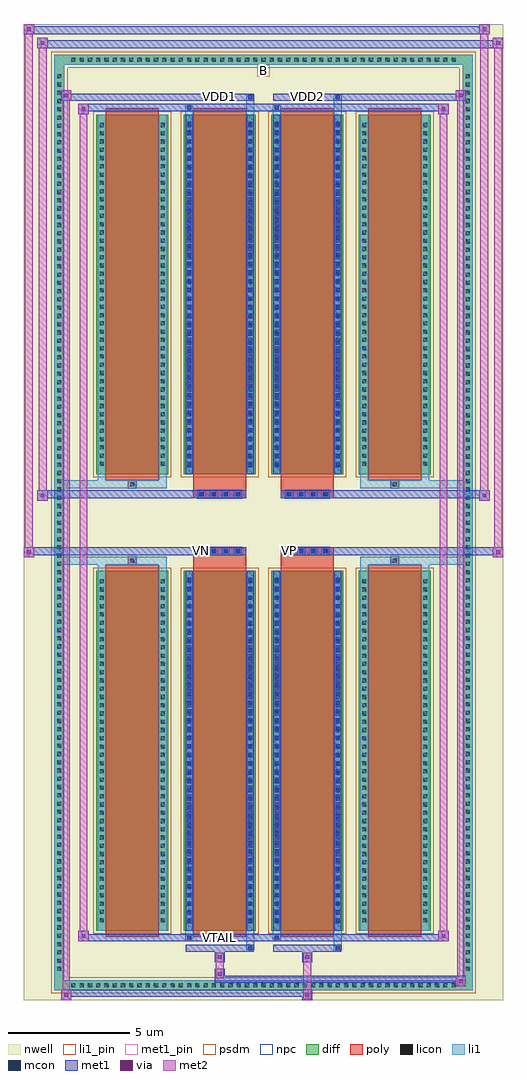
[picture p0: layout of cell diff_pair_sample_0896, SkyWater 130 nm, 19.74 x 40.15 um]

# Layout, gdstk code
import gdstk
lib = gdstk.Library(unit=1e-6, precision=5e-09)
def R(c, l, rs):  # rectangles x0, y0, x1, y1
    for r in rs: c.add(gdstk.rectangle(r[:2], r[2:], *l))
def A(c, l, x, y, w, h, nx, ny, dx, dy):  # array of equal rectangles
    R(c, l, [(x+i*dx, y+j*dy, x+i*dx+w, y+j*dy+h) for i in range(nx) for j in range(ny)])
def P(c, l, *ps):  # polygons
    for p in ps: c.add(gdstk.Polygon(p, *l))
nwell = (64, 20)
diff = (65, 20)
poly = (66, 20)
licon = (66, 44)
li1_pin = (67, 16)
li1 = (67, 20)
mcon = (67, 44)
met1_pin = (68, 16)
met1 = (68, 20)
via = (68, 44)
met2 = (69, 20)
psdm = (94, 20)
npc = (95, 20)

diff_pair_sample_0896 = lib.new_cell('diff_pair_sample_0896')
R(diff_pair_sample_0896, nwell, [(-9.87,-19.64,9.87,20.51), (-7.19,-17.83,-0.01,-0.805), (0.01,-17.83,7.19,-0.805), (-7.19,0.805,-0.01,17.83), (0.01,0.805,7.19,17.83)])
A(diff_pair_sample_0896, diff, -8.025, -19.24, 0.41, 0.41, 47, 2, 0.34, 38.07)
A(diff_pair_sample_0896, diff, -8.6, -18.565, 0.41, 0.41, 1, 109, 0, 0.34)
A(diff_pair_sample_0896, diff, 8.19, -18.565, 0.41, 0.41, 1, 109, 0, 0.34)
A(diff_pair_sample_0896, diff, -6.88, -16.785, 2.96, 14.8, 4, 2, 3.6, 18.77)
R(diff_pair_sample_0896, diff, [(-8.025,-19.24,8.025,-18.83), (-8.6,-18.565,-8.19,18.565), (8.19,-18.565,8.6,18.565), (-8.025,18.83,8.025,19.24)])
P(diff_pair_sample_0896, diff, [(8.6,19.24),(-8.6,19.24),(-8.6,-18.83),(-8.19,-18.83),(-8.19,18.83),(8.19,18.83),(8.19,-18.83),(-8.19,-18.83),(-8.6,-18.83),(-8.6,-19.24),(8.6,-19.24)])
A(diff_pair_sample_0896, poly, -6.49, -17.035, 2.18, 15.3, 4, 2, 3.6, 18.77)
A(diff_pair_sample_0896, poly, -2.715, -1.335, 0.33, 0.33, 4, 2, 0.5, 2.34)
A(diff_pair_sample_0896, poly, 0.885, -1.335, 0.33, 0.33, 4, 2, 0.5, 2.34)
R(diff_pair_sample_0896, poly, [(-5.565,-1.735,-5.235,-1.405), (-5.565,-1.735,-5.235,-1.405), (-2.89,-1.735,-0.71,-1.335), (0.71,-1.735,2.89,-1.335), (5.235,-1.735,5.565,-1.405), (5.235,-1.735,5.565,-1.405), (-2.89,-1.335,-0.71,-1.005), (0.71,-1.335,2.89,-1.005), (-2.89,1.005,-0.71,1.335), (0.71,1.005,2.89,1.335), (-2.89,1.335,-0.71,1.735), (0.71,1.335,2.89,1.735), (-5.565,1.405,-5.235,1.735), (-5.565,1.405,-5.235,1.735), (5.235,1.405,5.565,1.735), (5.235,1.405,5.565,1.735)])
A(diff_pair_sample_0896, licon, -7.905, -19.12, 0.17, 0.17, 47, 2, 0.34, 38.07)
A(diff_pair_sample_0896, licon, -8.48, -18.445, 0.17, 0.17, 1, 109, 0, 0.34)
A(diff_pair_sample_0896, licon, 8.31, -18.445, 0.17, 0.17, 1, 109, 0, 0.34)
A(diff_pair_sample_0896, licon, -6.74, -16.44, 0.17, 0.17, 1, 42, 0, 0.34)
A(diff_pair_sample_0896, licon, -4.23, -16.44, 0.17, 0.17, 1, 42, 0, 0.34)
A(diff_pair_sample_0896, licon, -3.14, -16.44, 0.17, 0.17, 1, 42, 0, 0.34)
A(diff_pair_sample_0896, licon, -0.63, -16.44, 0.17, 0.17, 1, 42, 0, 0.34)
A(diff_pair_sample_0896, licon, 0.46, -16.44, 0.17, 0.17, 1, 42, 0, 0.34)
A(diff_pair_sample_0896, licon, 2.97, -16.44, 0.17, 0.17, 1, 42, 0, 0.34)
A(diff_pair_sample_0896, licon, 4.06, -16.44, 0.17, 0.17, 1, 42, 0, 0.34)
A(diff_pair_sample_0896, licon, 6.57, -16.44, 0.17, 0.17, 1, 42, 0, 0.34)
A(diff_pair_sample_0896, licon, -2.635, -1.255, 0.17, 0.17, 4, 2, 0.5, 2.34)
A(diff_pair_sample_0896, licon, 0.965, -1.255, 0.17, 0.17, 4, 2, 0.5, 2.34)
A(diff_pair_sample_0896, licon, -6.74, 2.33, 0.17, 0.17, 1, 42, 0, 0.34)
A(diff_pair_sample_0896, licon, -4.23, 2.33, 0.17, 0.17, 1, 42, 0, 0.34)
A(diff_pair_sample_0896, licon, -3.14, 2.33, 0.17, 0.17, 1, 42, 0, 0.34)
A(diff_pair_sample_0896, licon, -0.63, 2.33, 0.17, 0.17, 1, 42, 0, 0.34)
A(diff_pair_sample_0896, licon, 0.46, 2.33, 0.17, 0.17, 1, 42, 0, 0.34)
A(diff_pair_sample_0896, licon, 2.97, 2.33, 0.17, 0.17, 1, 42, 0, 0.34)
A(diff_pair_sample_0896, licon, 4.06, 2.33, 0.17, 0.17, 1, 42, 0, 0.34)
A(diff_pair_sample_0896, licon, 6.57, 2.33, 0.17, 0.17, 1, 42, 0, 0.34)
R(diff_pair_sample_0896, licon, [(-5.485,-1.655,-5.315,-1.485), (5.315,-1.655,5.485,-1.485), (-5.485,1.485,-5.315,1.655), (5.315,1.485,5.485,1.655)])
R(diff_pair_sample_0896, li1_pin, [(-0.25,18.33,0.25,18.83)])
A(diff_pair_sample_0896, li1, -7.985, -19.2, 0.33, 0.33, 47, 2, 0.34, 38.07)
A(diff_pair_sample_0896, li1, -8.56, -18.525, 0.33, 0.33, 1, 109, 0, 0.34)
A(diff_pair_sample_0896, li1, 8.23, -18.525, 0.33, 0.33, 1, 109, 0, 0.34)
A(diff_pair_sample_0896, li1, -6.82, -16.52, 0.33, 0.33, 1, 42, 0, 0.34)
A(diff_pair_sample_0896, li1, -4.31, -16.52, 0.33, 0.33, 1, 42, 0, 0.34)
A(diff_pair_sample_0896, li1, -3.22, -16.52, 0.33, 0.33, 1, 42, 0, 0.34)
A(diff_pair_sample_0896, li1, -0.71, -16.52, 0.33, 0.33, 1, 42, 0, 0.34)
A(diff_pair_sample_0896, li1, 0.38, -16.52, 0.33, 0.33, 1, 42, 0, 0.34)
A(diff_pair_sample_0896, li1, 2.89, -16.52, 0.33, 0.33, 1, 42, 0, 0.34)
A(diff_pair_sample_0896, li1, 3.98, -16.52, 0.33, 0.33, 1, 42, 0, 0.34)
A(diff_pair_sample_0896, li1, 6.49, -16.52, 0.33, 0.33, 1, 42, 0, 0.34)
A(diff_pair_sample_0896, li1, -3.14, -16.49, 0.17, 0.17, 1, 40, 0, 0.36)
A(diff_pair_sample_0896, li1, -0.63, -16.49, 0.17, 0.17, 1, 40, 0, 0.36)
A(diff_pair_sample_0896, li1, 0.46, -16.49, 0.17, 0.17, 1, 40, 0, 0.36)
A(diff_pair_sample_0896, li1, 2.97, -16.49, 0.17, 0.17, 1, 40, 0, 0.36)
A(diff_pair_sample_0896, li1, -2.715, -1.335, 0.33, 0.33, 4, 2, 0.5, 2.34)
A(diff_pair_sample_0896, li1, 0.885, -1.335, 0.33, 0.33, 4, 2, 0.5, 2.34)
A(diff_pair_sample_0896, li1, -6.82, 2.25, 0.33, 0.33, 1, 42, 0, 0.34)
A(diff_pair_sample_0896, li1, -4.31, 2.25, 0.33, 0.33, 1, 42, 0, 0.34)
A(diff_pair_sample_0896, li1, -3.22, 2.25, 0.33, 0.33, 1, 42, 0, 0.34)
A(diff_pair_sample_0896, li1, -0.71, 2.25, 0.33, 0.33, 1, 42, 0, 0.34)
A(diff_pair_sample_0896, li1, 0.38, 2.25, 0.33, 0.33, 1, 42, 0, 0.34)
A(diff_pair_sample_0896, li1, 2.89, 2.25, 0.33, 0.33, 1, 42, 0, 0.34)
A(diff_pair_sample_0896, li1, 3.98, 2.25, 0.33, 0.33, 1, 42, 0, 0.34)
A(diff_pair_sample_0896, li1, 6.49, 2.25, 0.33, 0.33, 1, 42, 0, 0.34)
A(diff_pair_sample_0896, li1, -3.14, 2.28, 0.17, 0.17, 1, 40, 0, 0.36)
A(diff_pair_sample_0896, li1, -0.63, 2.28, 0.17, 0.17, 1, 40, 0, 0.36)
A(diff_pair_sample_0896, li1, 0.46, 2.28, 0.17, 0.17, 1, 40, 0, 0.36)
A(diff_pair_sample_0896, li1, 2.97, 2.28, 0.17, 0.17, 1, 40, 0, 0.36)
R(diff_pair_sample_0896, li1, [(-8.6,-19.24,-8.19,-18.83), (-8.6,-19.24,-8.19,-18.83), (-8.19,-19.24,8.19,-18.83), (8.19,-19.24,8.6,-18.83), (8.19,-19.24,8.6,-18.83), (-8.6,-18.83,-8.19,18.83), (8.19,-18.83,8.6,18.83), (-0.71,-17.59,-0.38,-16.785), (-0.63,-17.59,-0.46,-17.42), (2.89,-17.59,3.22,-16.785), (2.97,-17.59,3.14,-17.42), (-3.22,-17.16,-2.89,-16.785), (-3.14,-17.16,-2.97,-16.99), (0.38,-17.16,0.71,-16.785), (0.46,-17.16,0.63,-16.99), (-6.82,-16.785,-6.49,-1.985), (-4.31,-16.785,-3.98,-1.985), (-3.22,-16.785,-2.89,-1.985), (-0.71,-16.785,-0.38,-1.985), (0.38,-16.785,0.71,-1.985), (2.89,-16.785,3.22,-1.985), (3.98,-16.785,4.31,-1.985), (6.49,-16.785,6.82,-1.985), (-3.14,-16.49,-2.97,-2.28), (-0.63,-16.49,-0.46,-2.28), (0.46,-16.49,0.63,-2.28), (2.97,-16.49,3.14,-2.28), (-6.82,-1.985,-6.49,-1.405), (-4.31,-1.985,-3.98,-1.405), (3.98,-1.985,4.31,-1.405), (6.49,-1.985,6.82,-1.405), (-8.6,-1.735,-5.565,-1.405), (-6.82,-1.735,-5.565,-1.405), (-5.565,-1.735,-5.235,-1.405), (-5.235,-1.735,-3.98,-1.405), (3.98,-1.735,5.235,-1.405), (5.235,-1.735,5.565,-1.405), (5.235,-1.735,8.6,-1.405), (5.565,-1.735,6.82,-1.405), (-8.6,1.405,-5.565,1.735), (-6.82,1.405,-5.565,1.735), (-6.82,1.405,-6.49,1.985), (-5.565,1.405,-5.235,1.735), (-5.235,1.405,-3.98,1.735), (-4.31,1.405,-3.98,1.985), (3.98,1.405,5.235,1.735), (3.98,1.405,4.31,1.985), (5.235,1.405,5.565,1.735), (5.235,1.405,8.6,1.735), (5.565,1.405,6.82,1.735), (6.49,1.405,6.82,1.985), (-6.82,1.985,-6.49,16.785), (-4.31,1.985,-3.98,16.785), (-3.22,1.985,-2.89,16.785), (-0.71,1.985,-0.38,16.785), (0.38,1.985,0.71,16.785), (2.89,1.985,3.22,16.785), (3.98,1.985,4.31,16.785), (6.49,1.985,6.82,16.785), (-3.14,2.28,-2.97,16.49), (-0.63,2.28,-0.46,16.49), (0.46,2.28,0.63,16.49), (2.97,2.28,3.14,16.49), (-3.22,16.785,-2.89,17.16), (-0.71,16.785,-0.38,17.59), (0.38,16.785,0.71,17.16), (2.89,16.785,3.22,17.59), (-3.14,16.99,-2.97,17.16), (0.46,16.99,0.63,17.16), (-0.63,17.42,-0.46,17.59), (2.97,17.42,3.14,17.59), (-8.6,18.83,-8.19,19.24), (-8.6,18.83,-8.19,19.24), (-8.19,18.83,8.19,19.24), (8.19,18.83,8.6,19.24), (8.19,18.83,8.6,19.24)])
A(diff_pair_sample_0896, mcon, -3.14, -16.49, 0.17, 0.17, 1, 40, 0, 0.36)
A(diff_pair_sample_0896, mcon, -0.63, -16.49, 0.17, 0.17, 1, 40, 0, 0.36)
A(diff_pair_sample_0896, mcon, 0.46, -16.49, 0.17, 0.17, 1, 40, 0, 0.36)
A(diff_pair_sample_0896, mcon, 2.97, -16.49, 0.17, 0.17, 1, 40, 0, 0.36)
A(diff_pair_sample_0896, mcon, -2.635, -1.255, 0.17, 0.17, 4, 2, 0.5, 2.34)
A(diff_pair_sample_0896, mcon, 0.965, -1.255, 0.17, 0.17, 4, 2, 0.5, 2.34)
A(diff_pair_sample_0896, mcon, -3.14, 2.28, 0.17, 0.17, 1, 40, 0, 0.36)
A(diff_pair_sample_0896, mcon, -0.63, 2.28, 0.17, 0.17, 1, 40, 0, 0.36)
A(diff_pair_sample_0896, mcon, 0.46, 2.28, 0.17, 0.17, 1, 40, 0, 0.36)
A(diff_pair_sample_0896, mcon, 2.97, 2.28, 0.17, 0.17, 1, 40, 0, 0.36)
R(diff_pair_sample_0896, mcon, [(-0.63,-17.59,-0.46,-17.42), (2.97,-17.59,3.14,-17.42), (-3.14,-17.16,-2.97,-16.99), (0.46,-17.16,0.63,-16.99), (-3.14,16.99,-2.97,17.16), (0.46,16.99,0.63,17.16), (-0.63,17.42,-0.46,17.59), (2.97,17.42,3.14,17.59)])
R(diff_pair_sample_0896, met1_pin, [(-1.935,-17.2,-1.665,-16.93), (-2.685,-1.295,-2.415,-1.025), (0.915,-1.295,1.185,-1.025), (-1.935,17.38,-1.665,17.65), (1.665,17.38,1.935,17.65)])
A(diff_pair_sample_0896, met1, -3.2, -16.55, 0.29, 0.29, 1, 40, 0, 0.36)
A(diff_pair_sample_0896, met1, -0.69, -16.55, 0.29, 0.29, 1, 40, 0, 0.36)
A(diff_pair_sample_0896, met1, 0.4, -16.55, 0.29, 0.29, 1, 40, 0, 0.36)
A(diff_pair_sample_0896, met1, 2.91, -16.55, 0.29, 0.29, 1, 40, 0, 0.36)
A(diff_pair_sample_0896, met1, -2.695, -1.315, 0.29, 0.29, 4, 2, 0.5, 2.34)
A(diff_pair_sample_0896, met1, 0.905, -1.315, 0.29, 0.29, 4, 2, 0.5, 2.34)
A(diff_pair_sample_0896, met1, -3.2, 2.22, 0.29, 0.29, 1, 40, 0, 0.36)
A(diff_pair_sample_0896, met1, -0.69, 2.22, 0.29, 0.29, 1, 40, 0, 0.36)
A(diff_pair_sample_0896, met1, 0.4, 2.22, 0.29, 0.29, 1, 40, 0, 0.36)
A(diff_pair_sample_0896, met1, 2.91, 2.22, 0.29, 0.29, 1, 40, 0, 0.36)
R(diff_pair_sample_0896, met1, [(-8.33,-19.64,-7.9,-19.21), (1.585,-19.64,2.015,-19.21), (-8.33,-19.5,2.015,-19.21), (7.9,-19.07,8.33,-18.64), (-2.015,-18.93,8.33,-18.64), (-2.015,-18.79,-1.585,-18.36), (-2.015,-18.08,-1.585,-17.65), (1.585,-18.08,2.015,-17.65), (-3.2,-17.65,-0.4,-17.36), (-0.69,-17.65,-0.4,-17.36), (0.4,-17.65,3.2,-17.36), (2.91,-17.65,3.2,-17.36), (-7.62,-17.22,-7.19,-16.79), (-7.62,-17.22,-3.2,-16.93), (-3.2,-17.22,-2.91,-16.93), (-3.2,-17.22,-0.4,-16.93), (-0.4,-17.22,0.4,-16.93), (0.4,-17.22,0.69,-16.93), (0.4,-17.22,3.2,-16.93), (3.2,-17.22,7.62,-16.93), (7.19,-17.22,7.62,-16.79), (-3.2,-16.785,-2.91,-1.985), (-0.69,-16.785,-0.4,-1.985), (0.4,-16.785,0.69,-1.985), (2.91,-16.785,3.2,-1.985), (-9.87,-1.435,-9.44,-1.005), (9.44,-1.435,9.87,-1.005), (-9.87,-1.335,-0.71,-1.005), (-2.89,-1.335,-0.71,-1.005), (0.71,-1.335,2.89,-1.005), (0.71,-1.335,9.87,-1.005), (-9.3,0.905,-8.87,1.335), (8.87,0.905,9.3,1.335), (-9.3,1.005,-2.89,1.335), (-2.89,1.005,-0.71,1.335), (0.71,1.005,2.89,1.335), (2.89,1.005,9.3,1.335), (-3.2,1.985,-2.91,16.785), (-0.69,1.985,-0.4,16.785), (0.4,1.985,0.69,16.785), (2.91,1.985,3.2,16.785), (-7.62,16.79,-7.19,17.22), (7.19,16.79,7.62,17.22), (-7.62,16.93,-3.2,17.22), (-3.2,16.93,-2.91,17.22), (-3.2,16.93,-0.4,17.22), (-0.4,16.93,0.4,17.22), (0.4,16.93,0.69,17.22), (0.4,16.93,3.2,17.22), (3.2,16.93,7.62,17.22), (-8.33,17.36,-7.9,17.79), (-8.33,17.36,-3.2,17.65), (-3.2,17.36,-0.4,17.65), (-0.69,17.36,-0.4,17.65), (0.4,17.36,3.2,17.65), (2.91,17.36,3.2,17.65), (3.2,17.36,8.33,17.65), (7.9,17.36,8.33,17.79), (-9.3,19.51,-8.87,19.94), (-9.3,19.51,-7.19,19.84), (-7.19,19.51,7.19,19.84), (7.19,19.51,9.87,19.84), (9.44,19.51,9.87,19.94), (-9.87,20.08,-9.44,20.51), (-9.87,20.08,-7.19,20.41), (-7.19,20.08,7.19,20.41), (7.19,20.08,9.3,20.41), (8.87,20.08,9.3,20.51)])
R(diff_pair_sample_0896, via, [(-8.19,-19.5,-8.04,-19.35), (1.725,-19.5,1.875,-19.35), (8.04,-18.93,8.19,-18.78), (-1.875,-18.65,-1.725,-18.5), (-1.875,-17.94,-1.725,-17.79), (1.725,-17.94,1.875,-17.79), (-7.48,-17.08,-7.33,-16.93), (7.33,-17.08,7.48,-16.93), (-9.73,-1.295,-9.58,-1.145), (9.58,-1.295,9.73,-1.145), (-9.16,1.045,-9.01,1.195), (9.01,1.045,9.16,1.195), (-7.48,16.93,-7.33,17.08), (7.33,16.93,7.48,17.08), (-8.19,17.5,-8.04,17.65), (8.04,17.5,8.19,17.65), (-9.16,19.65,-9.01,19.8), (9.58,19.65,9.73,19.8), (-9.73,20.22,-9.58,20.37), (9.01,20.22,9.16,20.37)])
R(diff_pair_sample_0896, met2, [(-8.33,-19.64,-7.9,-19.21), (-8.26,-19.64,-7.97,17.79), (-7.97,-19.64,-7.9,-19.21), (-8.28,-19.59,-7.95,-19.26), (1.635,-19.59,1.965,-19.26), (1.635,-19.26,1.965,-18.03), (7.9,-19.07,8.33,-18.64), (7.97,-19.07,8.26,17.79), (8.26,-19.07,8.33,-18.64), (7.95,-19.02,8.28,-18.69), (-1.965,-18.74,-1.635,-18.41), (-1.965,-18.41,-1.635,-18.03), (-1.965,-18.03,-1.635,-17.7), (1.635,-18.03,1.965,-17.7), (-7.62,-17.22,-7.19,-16.79), (-7.55,-17.22,-7.26,17.22), (-7.26,-17.22,-7.19,-16.79), (7.19,-17.22,7.62,-16.79), (7.26,-17.22,7.55,17.22), (7.55,-17.22,7.62,-16.79), (-7.57,-17.17,-7.24,-16.84), (7.24,-17.17,7.57,-16.84), (-9.87,-1.435,-9.44,-1.005), (-9.82,-1.435,-9.49,20.51), (-9.49,-1.435,-9.44,-1.005), (9.44,-1.435,9.87,-1.005), (9.49,-1.435,9.82,19.94), (9.82,-1.435,9.87,-1.005), (-9.82,-1.385,-9.49,-1.055), (9.49,-1.385,9.82,-1.055), (-9.3,0.905,-8.87,1.335), (-9.25,0.905,-8.92,19.94), (-8.92,0.905,-8.87,1.335), (8.87,0.905,9.3,1.335), (8.92,0.905,9.25,20.51), (9.25,0.905,9.3,1.335), (-9.25,0.955,-8.92,1.285), (8.92,0.955,9.25,1.285), (-7.62,16.79,-7.19,17.22), (-7.26,16.79,-7.19,17.22), (7.19,16.79,7.62,17.22), (7.55,16.79,7.62,17.22), (-7.57,16.84,-7.24,17.17), (7.24,16.84,7.57,17.17), (-8.33,17.36,-7.9,17.79), (-7.97,17.36,-7.9,17.79), (7.9,17.36,8.33,17.79), (8.26,17.36,8.33,17.79), (-8.28,17.41,-7.95,17.74), (7.95,17.41,8.28,17.74), (-9.3,19.51,-8.87,19.94), (-8.92,19.51,-8.87,19.94), (9.44,19.51,9.87,19.94), (9.82,19.51,9.87,19.94), (-9.25,19.56,-8.92,19.89), (9.49,19.56,9.82,19.89), (-9.87,20.08,-9.44,20.51), (-9.49,20.08,-9.44,20.51), (8.87,20.08,9.3,20.51), (9.25,20.08,9.3,20.51), (-9.82,20.13,-9.49,20.46), (8.92,20.13,9.25,20.46)])
A(diff_pair_sample_0896, psdm, -7.01, -16.915, 3.22, 15.06, 4, 2, 3.6, 18.77)
P(diff_pair_sample_0896, psdm, [(8.73,19.37),(-8.73,19.37),(-8.73,-18.7),(-8.06,-18.7),(-8.06,18.7),(8.06,18.7),(8.06,-18.7),(-8.06,-18.7),(-8.73,-18.7),(-8.73,-19.37),(8.73,-19.37)])
A(diff_pair_sample_0896, npc, -2.735, -1.355, 0.37, 0.37, 4, 2, 0.5, 2.34)
A(diff_pair_sample_0896, npc, 0.865, -1.355, 0.37, 0.37, 4, 2, 0.5, 2.34)
R(diff_pair_sample_0896, npc, [(-5.585,-1.755,-5.215,-1.385), (5.215,-1.755,5.585,-1.385), (-2.735,-1.355,-1.865,-0.985), (-2.735,-1.355,-1.865,-0.985), (-2.235,-1.355,-1.365,-0.985), (-2.235,-1.355,-1.365,-0.985), (-1.735,-1.355,-0.865,-0.985), (-1.735,-1.355,-0.865,-0.985), (0.865,-1.355,1.735,-0.985), (0.865,-1.355,1.735,-0.985), (1.365,-1.355,2.235,-0.985), (1.365,-1.355,2.235,-0.985), (1.865,-1.355,2.735,-0.985), (1.865,-1.355,2.735,-0.985), (-2.735,0.985,-1.865,1.355), (-2.735,0.985,-1.865,1.355), (-2.235,0.985,-1.365,1.355), (-2.235,0.985,-1.365,1.355), (-1.735,0.985,-0.865,1.355), (-1.735,0.985,-0.865,1.355), (0.865,0.985,1.735,1.355), (0.865,0.985,1.735,1.355), (1.365,0.985,2.235,1.355), (1.365,0.985,2.235,1.355), (1.865,0.985,2.735,1.355), (1.865,0.985,2.735,1.355), (-5.585,1.385,-5.215,1.755), (5.215,1.385,5.585,1.755)])
diff_pair_sample_0896.add(gdstk.Label('VTAIL', (-1.8,-17.065), layer=68, texttype=5))
diff_pair_sample_0896.add(gdstk.Label('VN', (-2.55,-1.16), layer=68, texttype=5))
diff_pair_sample_0896.add(gdstk.Label('VP', (1.05,-1.16), layer=68, texttype=5))
diff_pair_sample_0896.add(gdstk.Label('B', (0,18.58), layer=67, texttype=5))
diff_pair_sample_0896.add(gdstk.Label('VDD2', (1.8,17.515), layer=68, texttype=5))
diff_pair_sample_0896.add(gdstk.Label('VDD1', (-1.8,17.515), layer=68, texttype=5))

lib.write_gds('diff_pair_sample_0896.gds')
